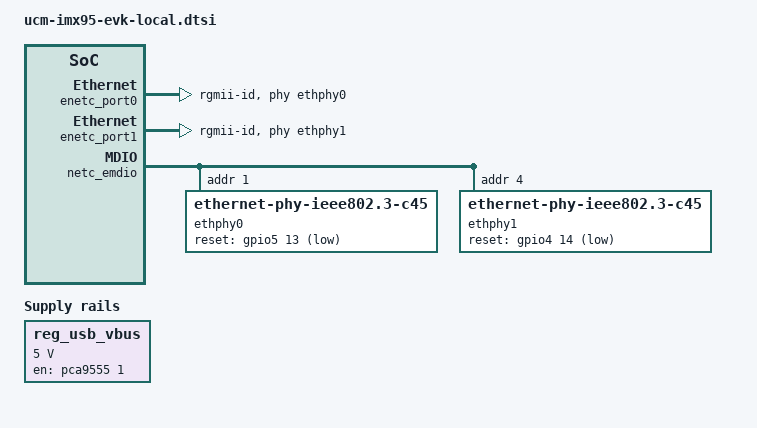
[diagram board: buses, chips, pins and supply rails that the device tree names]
// SPDX-License-Identifier: GPL-2.0+
/*
 * Copyright 2025 NXP
 */

#include <dt-bindings/usb/pd.h>

/ {
	aliases {
		ethernet0 = &enetc_port0;
		ethernet1 = &enetc_port1;
		usb0 = &usb3_dwc3;
		usb1 = &usb2;
	};

	chosen {
		bootargs = "console=ttyLP0,115200 earlycon";
	};

	reg_usb_vbus: regulator-vbus {
		compatible = "regulator-fixed";
		regulator-name = "USB_VBUS";
		gpio = <&pca9555 1 GPIO_ACTIVE_HIGH>;
		regulator-min-microvolt = <5000000>;
		regulator-max-microvolt = <5000000>;
		enable-active-high;
	};
};

&enetc_port0 {
	pinctrl-names = "default";
	pinctrl-0 = <&pinctrl_enetc0>;
	phy-handle = <&ethphy0>;
	phy-mode = "rgmii-id";
	status = "okay";
};

&enetc_port1 {
	pinctrl-names = "default";
	pinctrl-0 = <&pinctrl_enetc1>;
	phy-handle = <&ethphy1>;
	phy-mode = "rgmii-id";
	status = "okay";
};

&netc_emdio {
	pinctrl-names = "default";
	pinctrl-0 = <&pinctrl_emdio>;
	status = "okay";

	ethphy0: ethernet-phy@1 {
		compatible = "ethernet-phy-ieee802.3-c45";
		reg = <1>;
		eee-broken-1000t;
		reset-gpios = <&gpio5 13 GPIO_ACTIVE_LOW>;
		reset-assert-us = <10000>;
		reset-deassert-us = <80000>;
		realtek,clkout-disable;
	};

	ethphy1: ethernet-phy@4 {
		compatible = "ethernet-phy-ieee802.3-c45";
		reg = <4>;
		eee-broken-1000t;
		reset-gpios = <&gpio4 14 GPIO_ACTIVE_LOW>;
		reset-assert-us = <10000>;
		reset-deassert-us = <80000>;
		realtek,clkout-disable;
	};
};
